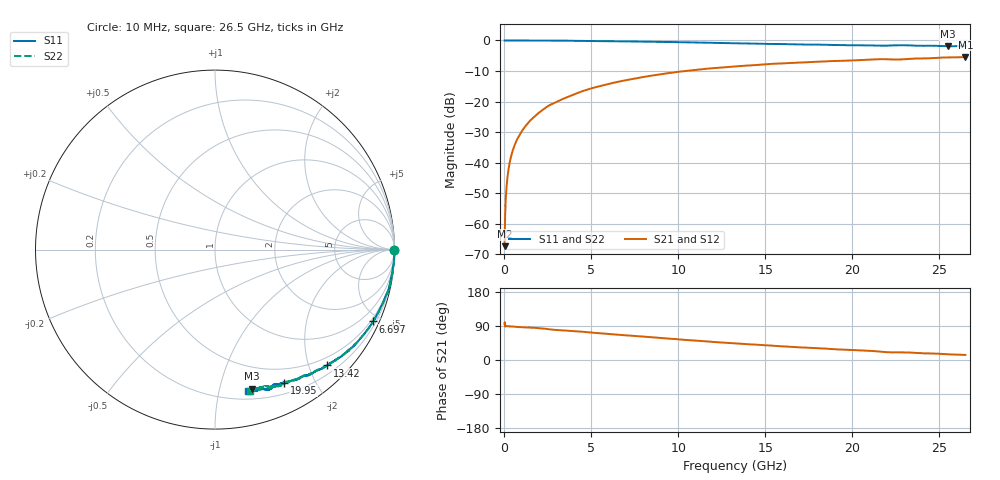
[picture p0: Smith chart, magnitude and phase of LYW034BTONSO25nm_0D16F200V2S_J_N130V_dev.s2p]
!Keysight Technologies,N5222B,MY61253708,A.15.00.15
!Date: Wednesday, June 19, 2024 09:57:14
!Correction: S11(C  2-Port  )
!S21(C  2-Port  )
!S12(C  2-Port  )
!S22(C  2-Port  )
!S2P File: Measurements: S11, S21, S12, S22:
# Hz S  RI  R 50
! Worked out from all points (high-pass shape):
!   2651 points, 10 MHz to 26.5 GHz, reference 50 ohm
!   highest |S21| = -5.40 dB at 26.5 GHz (marker M1); lowest = -67.4 dB at 10 MHz (marker M2)
!   |S21| within 3 dB of the highest: 13.52 GHz to end of sweep
!   lowest |S11| = -1.9 dB at 25.5 GHz (marker M3), VSWR 9.04, Z = 14.6 - j62.8 ohm
!   |S11| at or under -10 dB: nowhere
!   |S22| runs from -1.9 to 0.0 dB; largest |S21 - S12| = 0.0062
!   S11 on the Smith chart (normalised r, x): 10 MHz: open; 6.697 GHz: 0.37, -4.59; 13.42 GHz: 0.35, -2.31; 19.95 GHz: 0.32, -1.60; 26.5 GHz: 0.27, -1.23
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1e7  0.9986 -0.00269  -4.15e-05 0.000425  -0.000115 0.000269  0.9985 -0.00139
6.997736e7  1 -0.00509  2.68e-05 0.00231  -1.3e-05 0.00231  0.9997 -0.00483
1.599434e8  0.9999 -0.0113  5.79e-05 0.00527  4.76e-05 0.0053  0.9996 -0.0107
1.999283e8  1 -0.0135  0.000104 0.00662  7.63e-05 0.00663  0.9996 -0.0129
2.599057e8  0.9997 -0.0177  0.000152 0.00855  0.000164 0.00862  0.9996 -0.0169
3.598679e8  0.9995 -0.0246  0.000264 0.0119  0.000317 0.0119  0.9994 -0.0238
4.898189e8  0.9988 -0.0329  0.000521 0.0161  0.000536 0.0162  0.9988 -0.0319
6.497585e8  0.9986 -0.043  0.000931 0.0213  0.000918 0.0214  0.9985 -0.0422
8.396868e8  0.998 -0.0555  0.00147 0.0274  0.00147 0.0276  0.998 -0.0552
1.459453e9  0.9909 -0.0976  0.00359 0.0481  0.0036 0.0482  0.9932 -0.0941
2.339121e9  0.9821 -0.1514  0.00995 0.0777  0.0102 0.0781  0.9831 -0.1518
3.218789e9  0.9712 -0.2072  0.021 0.1036  0.0212 0.1043  0.9712 -0.2066
4.428332e9  0.9434 -0.279  0.038 0.1407  0.0383 0.1416  0.9447 -0.2767
6.697475e9  0.8806 -0.4004  0.0871 0.1966  0.0883 0.1973  0.8818 -0.4003
8.846664e9  0.8053 -0.5003  0.1437 0.2359  0.1451 0.2363  0.8062 -0.4993
1.3255e10  0.6304 -0.6408  0.2704 0.2607  0.2725 0.2602  0.633 -0.6399
1.342494e10  0.6234 -0.6455  0.2753 0.2599  0.2774 0.2595  0.6237 -0.6448
1.767333e10  0.4592 -0.7214  0.3767 0.2336  0.3798 0.2317  0.4681 -0.7189
1.995247e10  0.3859 -0.7423  0.4206 0.2094  0.423 0.207  0.3983 -0.7389
2.209166e10  0.3239 -0.7553  0.4597 0.172  0.4612 0.1688  0.3165 -0.7608
2.550038e10  0.2047 -0.7741  0.5091 0.1359  0.5103 0.1351  0.2239 -0.7757
2.65e10  0.1851 -0.7877  0.5225 0.1245  0.5218 0.1204  0.1977 -0.7856
